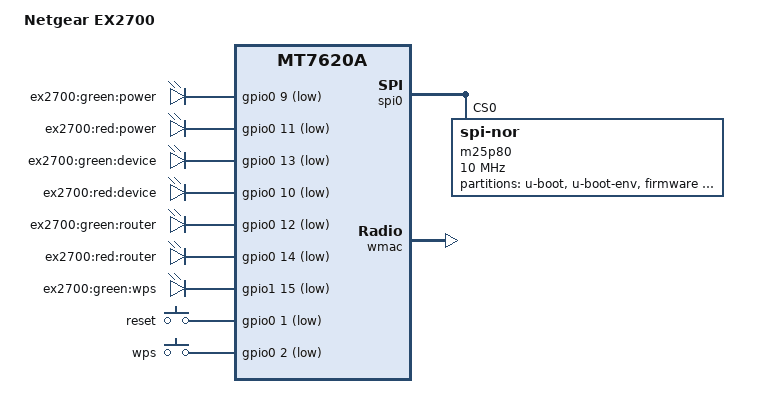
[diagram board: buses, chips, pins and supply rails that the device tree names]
/*
 * Device Tree file for the Netgear EX2700
 *
 * Copyright (C) 2016 Joseph C. Lehner <joseph.c.lehner@gmail.com>
 *
 * This file is licensed under the terms of the GNU General Public
 * License version 2.  This program is licensed "as is" without any
 * warranty of any kind, whether express or implied.
 */

/dts-v1/;

#include "mt7620a.dtsi"

#include <dt-bindings/gpio/gpio.h>
#include <dt-bindings/input/input.h>

/ {
	compatible = "netgear,ex2700", "ralink,mt7620a-soc";
	model = "Netgear EX2700";

	aliases {
		led-status = &led_power_green;
	};

	chosen {
		bootargs = "console=ttyS0,57600";
	};

	gpio-leds {
		compatible = "gpio-leds";

		led_power_green: power_g {
			label = "ex2700:green:power";
			gpios = <&gpio0 9 GPIO_ACTIVE_LOW>;
			default-state = "on";
		};

		power_r {
			label = "ex2700:red:power";
			gpios = <&gpio0 11 GPIO_ACTIVE_LOW>;
		};

		device_g {
			label = "ex2700:green:device";
			gpios = <&gpio0 13 GPIO_ACTIVE_LOW>;
		};

		device_r {
			label = "ex2700:red:device";
			gpios = <&gpio0 10 GPIO_ACTIVE_LOW>;
		};

		router_g {
			label = "ex2700:green:router";
			gpios = <&gpio0 12 GPIO_ACTIVE_LOW>;
		};

		router_r {
			label = "ex2700:red:router";
			gpios = <&gpio0 14 GPIO_ACTIVE_LOW>;
		};

		wps {
			label = "ex2700:green:wps";
			gpios = <&gpio1 15 GPIO_ACTIVE_LOW>;
		};
	};

	gpio-keys-polled {
		compatible = "gpio-keys-polled";
		poll-interval = <20>;

		reset {
			label = "reset";
			gpios = <&gpio0 1 GPIO_ACTIVE_LOW>;
			linux,code = <KEY_RESTART>;
		};

		wps {
			label = "wps";
			gpios = <&gpio0 2 GPIO_ACTIVE_LOW>;
			linux,code = <KEY_WPS_BUTTON>;
		};
	};
};

&gpio0 {
	status = "okay";
};

&gpio1 {
	status = "okay";
};

&spi0 {
	status = "okay";

	m25p80@0 {
		compatible = "jedec,spi-nor";
		reg = <0>;
		spi-max-frequency = <10000000>;

		partitions {
			compatible = "fixed-partitions";
			#address-cells = <1>;
			#size-cells = <1>;

			partition@0 {
				label = "u-boot";
				reg = <0x0 0x30000>;
				read-only;
			};

			partition@30000 {
				label = "u-boot-env";
				reg = <0x30000 0x10000>;
				read-only;
			};

			partition@40000 {
				label = "firmware";
				reg = <0x40000 0x3b0000>;
			};

			art: partition@3f0000 {
				label = "art";
				reg = <0x3f0000 0x10000>;
				read-only;
			};
		};
	};
};

&ethernet {
	mtd-mac-address = <&art 0x0>;
};

&wmac {
	mtd-mac-address = <&art 0x6>;
	ralink,mtd-eeprom = <&art 0x1000>;
};

&pinctrl {
	state_default: pinctrl0 {
		default {
			ralink,group = "i2c", "uartf", "spi refclk";
			ralink,function = "gpio";
		};
	};
};
